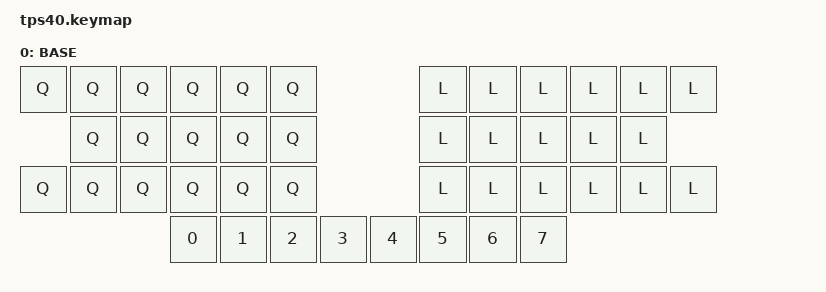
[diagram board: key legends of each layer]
/*
 * Copyright (c) 2021 The ZMK Contributors
 *
 * SPDX-License-Identifier: MIT
 */

#include <behaviors.dtsi>
#include <dt-bindings/zmk/keys.h>
#include <dt-bindings/zmk/bt.h>
#include <dt-bindings/zmk/ext_power.h>
#include <dt-bindings/zmk/outputs.h>

#include "swiss-keymap.h"

#define BASE   0
#define NAVR   1
#define SYMB   2
#define NUMR   3
#define FUNL   4
#define ADJL   5    

/ {
    keymap {
        compatible = "zmk,keymap";
        base {
            label = "BASE";
            bindings = <
    &kp Q   &kp Q   &kp Q   &kp Q   &kp Q   &kp Q                               &kp L   &kp L   &kp L   &kp L   &kp L   &kp L
            &kp Q   &kp Q   &kp Q   &kp Q   &kp Q                               &kp L   &kp L   &kp L   &kp L   &kp L
    &kp Q   &kp Q   &kp Q   &kp Q   &kp Q   &kp Q                               &kp L   &kp L   &kp L   &kp L   &kp L   &kp L
                            &kp N0  &kp N1  &kp N2  &kp N3              &kp N4  &kp N5  &kp N6  &kp N7
            >;
        };
    };
};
